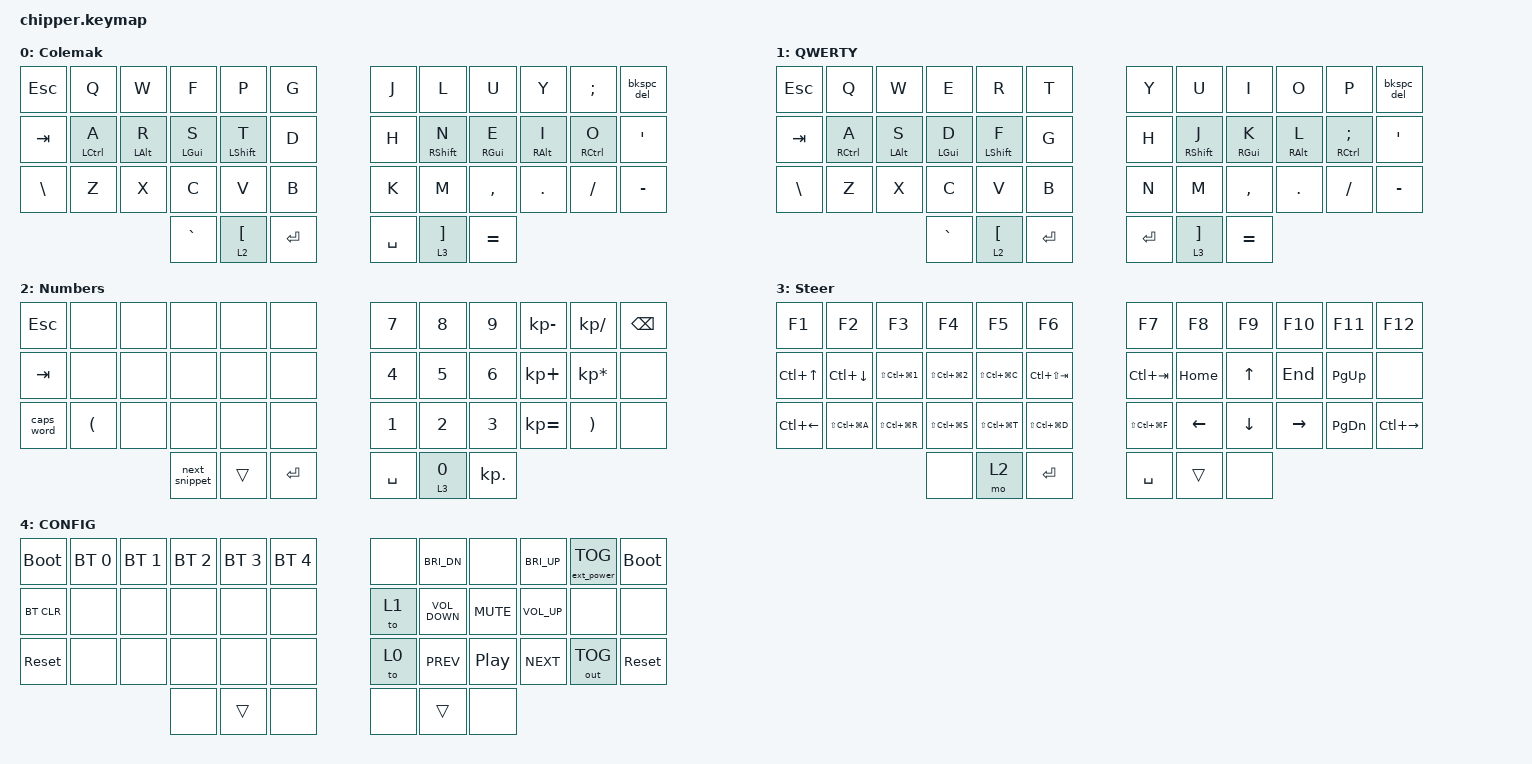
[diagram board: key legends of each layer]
/*
 * Copyright (c) 2020 The ZMK Contributors
 *
 * SPDX-License-Identifier: MIT
 */

#include <behaviors.dtsi>
#include <dt-bindings/zmk/bt.h>
#include <dt-bindings/zmk/ext_power.h>
#include <dt-bindings/zmk/keys.h>
#include <dt-bindings/zmk/outputs.h>

#define COMBO_TIMEOUT 60
#define COLEMAK 0
#define QWERTY  1
#define NUMBERS 2
#define NAVIG   3
#define CONFIG  4

/ {
    macros {
        next_snippet: next_snippet {
            compatible = "zmk,behavior-macro";
            #binding-cells = <0>;
            bindings = <&kp COLON &kp N &kp X>;
            label = "NEXT_SNIPPET";
        };
    };
};

/ {
    combos {
        compatible = "zmk,combos";

        combo_left_par {
            bindings = <&kp LEFT_PARENTHESIS>;
            key-positions = <28 27>;
            layers = <0 1>;
        };

        combo_right_par {
            bindings = <&kp RIGHT_PARENTHESIS>;
            key-positions = <31 32>;
            layers = <0 1>;
        };
    };
};

&caps_word { continue-list = <UNDERSCORE MINUS BACKSPACE DELETE HOME END LEFT RIGHT>; };

&kscan0 { debounce-period = <20>; };

/ {
    behaviors {
        bh: layer_taps {
            compatible = "zmk,behavior-hold-tap";
            label = "Layer-Tap";
            #binding-cells = <2>;
            flavor = "tap-preferred";
            bindings = <&mo>, <&kp>;

            tapping-term-ms = <215>;
        };

        sm: shift_mods {
            compatible = "zmk,behavior-hold-tap";
            label = "SHIFT_MODS";
            #binding-cells = <2>;
            tapping-term-ms = <170>;
            quick_tap_ms = <0>;
            flavor = "hold-preferred";
            bindings = <&kp>, <&kp>;
        };

        bkspc_del: bkspc_del {
            compatible = "zmk,behavior-mod-morph";
            label = "BKSPC_DEL";
            bindings = <&kp BACKSPACE>, <&kp DELETE>;

            #binding-cells = <0>;
            mods = <(MOD_LSFT|MOD_RSFT)>;
        };

        hml: home_row_mod_left {
            compatible = "zmk,behavior-hold-tap";
            label = "HOME_ROW_MOD_LEFT";
            bindings = <&kp>, <&kp>;

            #binding-cells = <2>;
            tapping-term-ms = <280>;
            quick-tap-ms = <175>;
            require-prior-idle-ms = <150>;
            flavor = "balanced";
            hold-trigger-key-positions = <6 7 8 9 10 11 18 19 20 21 22 23 30 31 32 33 34 35 40 41 39 38 37 36>;
            hold-trigger-on-release;
        };

        hmr: home_row_mod_right {
            compatible = "zmk,behavior-hold-tap";
            label = "HOME_ROW_MOD_RIGHT";
            bindings = <&kp>, <&kp>;

            #binding-cells = <2>;
            tapping-term-ms = <280>;
            quick-tap-ms = <175>;
            require-prior-idle-ms = <150>;
            flavor = "balanced";
            hold-trigger-key-positions = <0 1 2 3 4 5 12 13 14 15 16 17 24 25 26 27 28 29 36 37 38 41 40 39>;
            hold-trigger-on-release;
        };
    };
};

/ {
    keymap {
        compatible = "zmk,keymap";

        colemak_layer {
            // -----------------------------------------------------------------------------------------
            // |  TAB |  Q  |  W  |  E  |  R  |  T  |   |  Y  |  U   |  I  |  O  |  P  | BKSP |
            // | CTRL |  A  |  S  |  D  |  F  |  G  |   |  H  |  J   |  K  |  L  |  ;  |  '   |
            // | SHFT |  Z  |  X  |  C  |  V  |  B  |   |  N  |  M   |  ,  |  .  |  /  | ESC  |
            //                    | GUI | LWR | SPC |   | ENT | RSE  | ALT |

            bindings = <
&kp ESCAPE     &kp Q                &kp W            &kp F            &kp P               &kp G      &kp J      &kp L                &kp U             &kp Y             &kp SEMI              &bkspc_del
&kp TAB        &hml LEFT_CONTROL A  &hml LEFT_ALT R  &hml LEFT_GUI S  &hml LEFT_SHIFT T   &kp D      &kp H      &hmr RIGHT_SHIFT N   &hmr RIGHT_GUI E  &hmr RIGHT_ALT I  &hmr RIGHT_CONTROL O  &kp SQT
&kp BACKSLASH  &kp Z                &kp X            &kp C            &kp V               &kp B      &kp K      &kp M                &kp COMMA         &kp DOT           &kp FSLH              &kp MINUS
                                                     &kp GRAVE        &lt 2 LEFT_BRACKET  &kp RET    &kp SPACE  &lt 3 RIGHT_BRACKET  &kp EQUAL
            >;

            label = "Colemak";
        };

        qwerty_layer {
            // -----------------------------------------------------------------------------------------
            // |  TAB |  Q  |  W  |  E  |  R  |  T  |   |  Y  |  U   |  I  |  O  |  P  | BKSP |
            // | CTRL |  A  |  S  |  D  |  F  |  G  |   |  H  |  J   |  K  |  L  |  ;  |  '   |
            // | SHFT |  Z  |  X  |  C  |  V  |  B  |   |  N  |  M   |  ,  |  .  |  /  | ESC  |
            //                    | GUI | LWR | SPC |   | ENT | RSE  | ALT |

            bindings = <
&kp ESCAPE     &kp Q                 &kp W            &kp E            &kp R               &kp T      &kp Y    &kp U                &kp I             &kp O             &kp P                    &bkspc_del
&kp TAB        &hml RIGHT_CONTROL A  &hml LEFT_ALT S  &hml LEFT_GUI D  &hml LEFT_SHIFT F   &kp G      &kp H    &hmr RIGHT_SHIFT J   &hmr RIGHT_GUI K  &hmr RIGHT_ALT L  &hmr RIGHT_CONTROL SEMI  &kp SQT
&kp BACKSLASH  &kp Z                 &kp X            &kp C            &kp V               &kp B      &kp N    &kp M                &kp COMMA         &kp DOT           &kp FSLH                 &kp MINUS
                                                      &kp GRAVE        &lt 2 LEFT_BRACKET  &kp RET    &kp RET  &lt 3 RIGHT_BRACKET  &kp EQUAL
            >;

            label = "QWERTY";
        };

        numbers_layer {
            // -----------------------------------------------------------------------------------------
            // |  TAB |  1  |  2  |  3  |  4  |  5  |   |  6  |  7  |  8  |  9  |  0  | BKSP |
            // | BTCLR| BT1 | BT2 | BT3 | BT4 | BT5 |   | LFT | DWN |  UP | RGT |     |      |
            // | SHFT |     |     |     |     |     |   |     |     |     |     |     |      |
            //                    | GUI |     | SPC |   | ENT |     | ALT |

            bindings = <
&kp ESCAPE  &none                 &none  &none          &none   &none      &kp N7     &kp N8    &kp N9      &kp KP_MINUS  &kp KP_DIVIDE          &kp BSPC
&kp TAB     &none                 &none  &none          &none   &none      &kp N4     &kp N5    &kp N6      &kp KP_PLUS   &kp KP_MULTIPLY        &none
&caps_word  &kp LEFT_PARENTHESIS  &none  &none          &none   &none      &kp N1     &kp N2    &kp N3      &kp KP_EQUAL  &kp RIGHT_PARENTHESIS  &none
                                         &next_snippet  &trans  &kp RET    &kp SPACE  &lt 3 N0  &kp KP_DOT
            >;

            label = "Numbers";
        };

        navig_layer {
            // -----------------------------------------------------------------------------------------
            // |  TAB |  !  |  @  |  #  |  $  |  %  |   |  ^  |  &  |  *  |  (  |  )  | BKSP |
            // | CTRL |     |     |     |     |     |   |  -  |  =  |  [  |  ]  |  \  |  `   |
            // | SHFT |     |     |     |     |     |   |  _  |  +  |  {  |  }  | "|" |  ~   |
            //                    | GUI |     | SPC |   | ENT |     | ALT |

            bindings = <
&kp F1              &kp F2              &kp F3              &kp F4                    &kp F5             &kp F6               &kp F7             &kp F8          &kp F9          &kp F10          &kp F11        &kp F12
&kp LC(UP_ARROW)    &kp LC(DOWN_ARROW)  &kp LS(LC(LG(N1)))  &kp LS(LC(LG(NUMBER_2)))  &kp LS(LC(LG(C)))  &kp LC(LS(TAB))      &kp LC(TAB)        &kp HOME        &kp UP_ARROW    &kp END          &kp PAGE_UP    &none
&kp LC(LEFT_ARROW)  &kp LS(LC(LG(A)))   &kp LS(LC(LG(R)))   &kp LS(LC(LG(S)))         &kp LS(LC(LG(T)))  &kp LS(LC(LG(D)))    &kp LS(LC(LG(F)))  &kp LEFT_ARROW  &kp DOWN_ARROW  &kp RIGHT_ARROW  &kp PAGE_DOWN  &kp LC(RIGHT_ARROW)
                                                            &none                     &mo 2              &kp RET              &kp SPACE          &trans          &none
            >;

            label = "Steer";
        };

        danger_layer {
            bindings = <
&bootloader  &bt BT_SEL 0  &bt BT_SEL 1  &bt BT_SEL 2  &bt BT_SEL 3  &bt BT_SEL 4    &none  &kp C_BRI_DN       &none             &kp C_BRI_UP     &ext_power EP_TOG  &bootloader
&bt BT_CLR   &none         &none         &none         &none         &none           &to 1  &kp C_VOLUME_DOWN  &kp C_MUTE        &kp C_VOLUME_UP  &none              &none
&sys_reset   &none         &none         &none         &none         &none           &to 0  &kp C_PREV         &kp C_PLAY_PAUSE  &kp C_NEXT       &out OUT_TOG       &sys_reset
                                         &none         &trans        &none           &none  &trans             &none
            >;

            label = "CONFIG";
        };
    };

    conditional_layers {
        compatible = "zmk,conditional-layers";

        config_cond {
            if-layers = <2 3>;
            then-layer = <4>;
        };
    };
};
